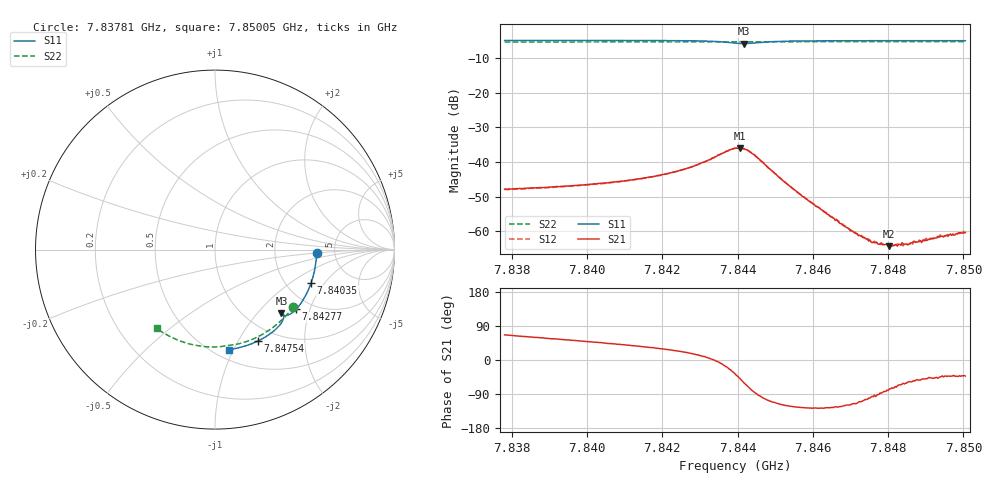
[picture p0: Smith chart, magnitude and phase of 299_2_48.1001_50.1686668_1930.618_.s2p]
#  HZ  S  RI  R  50.00
! Rohde & Schwarz Vector Network Analyzer
! Rohde-Schwarz,ZNB20-2Port,1311601062101988,3.16
! Created: UTC 12/23/2023, 4:04:34 AM
! freq[Hz]  re:S11  im:S11  re:S21  im:S21  re:S12  im:S12  re:S22  im:S22
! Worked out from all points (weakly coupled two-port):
!   401 points, 7.83781 GHz to 7.85005 GHz, reference 50 ohm
!   highest |S21| = -35.98 dB at 7.84405 GHz (marker M1); lowest = -64.3 dB at 7.84803 GHz (marker M2)
!   lowest |S11| = -5.8 dB at 7.84418 GHz (marker M3), VSWR 3.10, Z = 70.8 - j67.8 ohm
!   |S11| at or under -10 dB: nowhere
!   |S22| runs from -5.4 to -5.3 dB; largest |S21 - S12| = 0.00026
!   S11 on the Smith chart (normalised r, x): 7.83781 GHz: 3.60, -0.19; 7.84035 GHz: 2.72, -1.48; 7.84277 GHz: 1.67, -1.62; 7.84754 GHz: 0.81, -1.21; 7.85005 GHz: 0.59, -0.96
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7.837812e9  0.5663 -0.018  0.00163 0.0037  0.00164 0.00364  0.4367 -0.3176
7.839862e9  0.546 -0.1531  0.00299 0.00356  0.00298 0.00352  0.3383 -0.4218
7.840351e9  0.536 -0.1848  0.0034 0.00353  0.00336 0.00346  0.3111 -0.4426
7.841178e9  0.5146 -0.2368  0.00432 0.00341  0.00427 0.00338  0.2619 -0.4737
7.841912e9  0.4901 -0.2818  0.00549 0.00325  0.00546 0.00325  0.2158 -0.4966
7.842769e9  0.4523 -0.3324  0.00806 0.00251  0.00803 0.00257  0.1593 -0.5175
7.843228e9  0.4246 -0.3562  0.0106 0.00102  0.0105 0.00103  0.1279 -0.5258
7.843503e9  0.4038 -0.3664  0.0126 -0.00127  0.0126 -0.00132  0.1088 -0.5295
7.843932e9  0.3719 -0.3626  0.0126 -0.00938  0.0127 -0.00927  0.0802 -0.5329
7.844054e9  0.3691 -0.3572  0.0105 -0.0119  0.0105 -0.0118  0.0724 -0.5338
7.844176e9  0.3704 -0.3532  0.0075 -0.0135  0.00761 -0.0133  0.0651 -0.5349
7.844299e9  0.375 -0.3528  0.00429 -0.0138  0.00438 -0.0137  0.0573 -0.5364
7.844452e9  0.3807 -0.3583  0.000985 -0.0125  0.000972 -0.0125  0.0473 -0.5382
7.845186e9  0.3694 -0.4091  -0.00256 -0.00484  -0.00256 -0.00488  -0.00399 -0.5426
7.845982e9  0.3296 -0.4521  -0.00154 -0.00202  -0.00155 -0.00205  -0.0602 -0.5402
7.847022e9  0.27 -0.4933  -0.000455 -0.000902  -0.000471 -0.000919  -0.1324 -0.5279
7.847542e9  0.2386 -0.5096  -9.64e-05 -0.000701  -0.000108 -0.000694  -0.1674 -0.5182
7.847818e9  0.2217 -0.5172  2.79e-05 -0.000681  3.28e-05 -0.000649  -0.1859 -0.5122
7.848032e9  0.2085 -0.5229  0.000142 -0.000591  0.0001 -0.000625  -0.2001 -0.507
7.848583e9  0.1737 -0.5355  0.000364 -0.000564  0.000353 -0.000553  -0.2357 -0.4917
7.849378e9  0.1223 -0.5493  0.000589 -0.000584  0.00063 -0.000618  -0.2847 -0.4655
7.850052e9  0.0781 -0.5572  0.00071 -0.000648  0.000717 -0.000641  -0.3242 -0.4395
